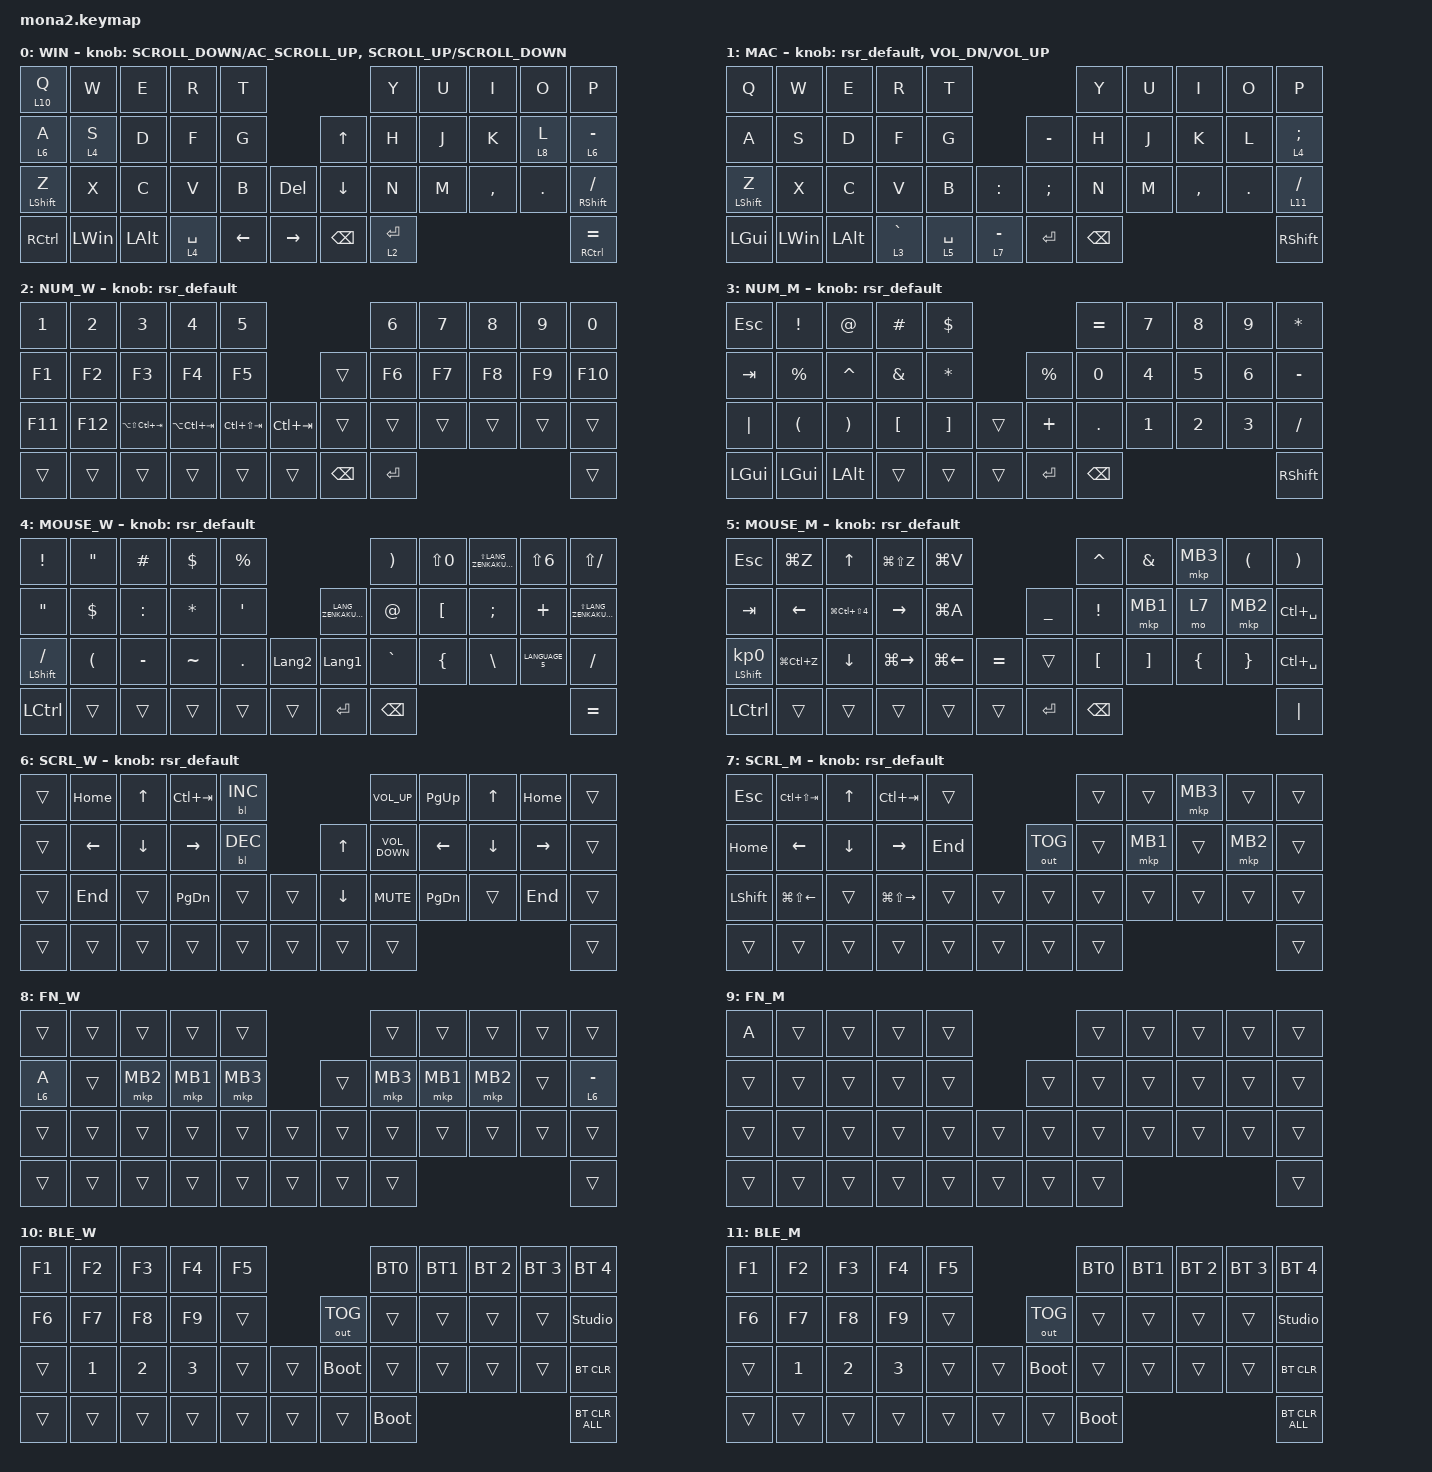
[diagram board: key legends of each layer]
#include <input/processors.dtsi>
#include <dt-bindings/zmk/input_transform.h>
#include <zephyr/dt-bindings/input/input-event-codes.h>
#include <behaviors/runtime-sensor-rotate.dtsi>

/* DYA Studio から作成したマクロを呼び出す `&rmacro <slot>` を定義する。
   slot は 0 〜 CONFIG_ZMK_RUNTIME_MACRO_COUNT-1 (現状 0〜7)。
   どのマクロがどのスロットに入っているかは DYA Studio のマクロ一覧で確認する。
   キーへの割り当ては DYA Studio のキーマップエディタからも行える。 */

#include <behaviors/runtime_macro.dtsi>

/* デフォルトレイヤー変更 behavior `&df`。
   DYA Studio の「OSごとのデフォルトレイヤー」から設定できるほか、
   キーマップエディタで `&df DF_SEL <layer>` / `&df DF_INC` を
   任意のキーに割り当てられる。 */

#include <behaviors/default_layer.dtsi>
#include <dt-bindings/zmk_behavior_default_layer/default_layer.h>
#include <behaviors.dtsi>
#include <dt-bindings/zmk/backlight.h>
#include <dt-bindings/zmk/bt.h>
#include <dt-bindings/zmk/keys.h>
#include <dt-bindings/zmk/outputs.h>
#include <dt-bindings/zmk/pointing.h>

/* ZMK 側で 10 が定義済みなので警告回避のため一旦 undef */

#undef ZMK_POINTING_DEFAULT_SCRL_VAL

#define ZMK_POINTING_DEFAULT_SCRL_VAL 100

/ {
    behaviors {
        mg_set_0: behavior_mg_set_0 {
            compatible = "zmk,behavior-mg-set-fixed";
            #binding-cells = <0>;
            display-name = "Mouse Gesture Key 0";
        };

        mg_set_1: behavior_mg_set_1 {
            compatible = "zmk,behavior-mg-set-fixed";
            #binding-cells = <0>;
            display-name = "Mouse Gesture Key 1";
        };

        mg_set_2: behavior_mg_set_2 {
            compatible = "zmk,behavior-mg-set-fixed";
            #binding-cells = <0>;
            display-name = "Mouse Gesture Key 2";
        };
    };
};

&mt {
    flavor = "balanced";
    quick-tap-ms = <0>;
};

&lt {
    quick-tap-ms = <200>;
    flavor = "balanced";
};

&msc {
    delay-ms = <0>;
    time-to-max-speed-ms = <0>;
    acceleration-exponent = <0>;
};

/ {
    /* ─────────────────────────────────────────────────────────────
       コンボ (DYA Studio から編集可能)

       旧 `combos { compatible = "zmk,combos"; }` はコンパイル時固定で
       DYA Studio から編集できないため、zmk-feature-runtime-combo の
       「コンパイル時デフォルト」ノードへ移行した。
       ここに書いた内容はフラッシュ直後から有効で、設定を消しても復活する。
       DYA Studio 側で編集するとそのスロットだけ上書きされ、
       Web UI の "Reset to Default" でここの値へ戻せる。

       スロット総数は CONFIG_ZMK_RUNTIME_COMBO_MAX_COMBOS (現状 16)。
       未使用スロット (2〜15) は DYA Studio から自由に追加できる。
       ────────────────────────────────────────────────────────── */

    runtime_combo_defaults {
        compatible = "cormoran,runtime-combo-defaults";

        layer4_ESC {
            slot = <0>;
            display-name = "Layer4 ESC";
            key-positions = <38 39>;
            bindings = <&lt 4 ESC>;
        };

        tab {
            slot = <1>;
            display-name = "Tab";
            key-positions = <11 12>;
            bindings = <&kp TAB>;
        };
    };

    /* 静的マクロ。キーマップ上で &BT0 / &screenshot などの名前で直接
       参照しているため、そのまま残している (DYA Studio 上では編集不可)。
       DYA Studio から編集したいマクロは Web UI で新規作成し、
       キーに `&rmacro <slot>` を割り当てて使う。 */

    macros {
        to_layer_0: to_layer_0 {
            compatible = "zmk,behavior-macro-one-param";
            #binding-cells = <1>;
            bindings = <&to 0 &macro_param_1to1 &kp MACRO_PLACEHOLDER>;
            label = "TO_LAYER_0";
        };

        BT0: BT0 {
            compatible = "zmk,behavior-macro";
            #binding-cells = <0>;
            bindings =
                <&tog_off 0 &tog_off 1>,
                <&macro_wait_time 200>,
                <&bt BT_SEL 0>,
                <&macro_wait_time 500>,
                <&tog_on 0>;

            label = "BT0";
        };

        BT1: BT1 {
            compatible = "zmk,behavior-macro";
            #binding-cells = <0>;
            bindings =
                <&tog_off 0 &tog_off 1>,
                <&macro_wait_time 200>,
                <&bt BT_SEL 1>,
                <&macro_wait_time 500>,
                <&tog_on 1>;

            label = "BT1";
        };

        screenshot: screenshot {
            compatible = "zmk,behavior-macro";
            #binding-cells = <0>;
            bindings =
                <&macro_press>,
                <&kp LEFT_GUI &kp RSHIFT>,
                <&macro_wait_time 20>,
                <&macro_tap>,
                <&kp S>,
                <&macro_release>,
                <&kp LEFT_GUI &kp RSHIFT>;

            label = "SCREENSHOT";
        };

        henkan: henkan {
            compatible = "zmk,behavior-macro";
            #binding-cells = <0>;
            bindings =
                <&macro_press>,
                <&kp LEFT_ALT>,
                <&macro_wait_time 20>,
                <&macro_tap>,
                <&kp GRAVE>,
                <&macro_release>,
                <&kp LEFT_ALT>;

            label = "HENKAN";
        };
    };

    behaviors {
        lt_to_layer_0: lt_to_layer_0 {
            compatible = "zmk,behavior-hold-tap";
            label = "LAYER_TAP_TO_0";
            bindings = <&mo>, <&to_layer_0>;

            #binding-cells = <2>;
            tapping-term-ms = <200>;
        };

        tp_repeat_mo1: tp_repeat_mo1 {
            compatible = "zmk,behavior-hold-tap";
            label = "TP_REPEAT_MO1";
            bindings = <&mo>, <&key_repeat>;

            #binding-cells = <2>;
            tapping-term-ms = <200>;
        };

        // エンコーダ用 runtime-configurable sensor rotate
        // デフォルトはスクロール (cw=SCRL_DOWN, ccw=SCRL_UP)
        // DYA Studio Web UI から レイヤーごとに cw/ccw の binding を
        // kp C_VOL_UP/DN や kp LEFT/RIGHT などへ動的変更可能

        rsr_default: rsr_default {
            compatible = "zmk,behavior-runtime-sensor-rotate";
            #sensor-binding-cells = <0>;
            tap-ms = <16>;
            cw-binding = <&msc SCRL_DOWN>;
            ccw-binding = <&msc SCRL_UP>;
        };

        tog_on: toggle_layer_on_only {
            compatible = "zmk,behavior-toggle-layer";
            #binding-cells = <1>;
            display-name = "Toggle Layer On";
            toggle-mode = "on";
        };

        tog_off: toggle_layer_off_only {
            compatible = "zmk,behavior-toggle-layer";
            #binding-cells = <1>;
            display-name = "Toggle Layer Off";
            toggle-mode = "off";
        };

        zfold: zfold {
            compatible = "zmk,behavior-hold-tap";
            label = "ZFOLD";
            bindings = <&kp>, <&kp>;

            #binding-cells = <2>;
            tapping-term-ms = <300>;
            flavor = "hold-preferred";
            quick-tap-ms = <150>;
            hold-while-undecided;
        };

        zfoldZ: zfoldZ {
            compatible = "zmk,behavior-tap-dance";
            label = "ZFOLDZ";
            #binding-cells = <0>;
            bindings = <&zfold LEFT_SHIFT Z>, <&kp LS(Z)>;
        };
    };

    combos {
        compatible = "zmk,combos";

        escape {
            bindings = <&kp ESCAPE>;
            key-positions = <0 1>;
        };

        tab {
            bindings = <&kp TAB>;
            key-positions = <10 11>;
        };

        sft {
            bindings = <&kp LSHFT>;
            key-positions = <21 22>;
        };

        mousel {
            bindings = <&mkp LCLK>;
            key-positions = <17 18>;
        };

        mouser {
            bindings = <&mkp RCLK>;
            key-positions = <18 19>;
        };

        equal {
            bindings = <&kp LS(MINUS)>;
            key-positions = <8 9>;
        };

        shift+tab {
            bindings = <&kp LS(TAB)>;
            key-positions = <11 12>;
        };

        exclamation {
            bindings = <&kp EXCLAMATION>;
            key-positions = <6 5>;
        };

        hatena {
            bindings = <&kp QUESTION>;
            key-positions = <32 31>;
        };

        screenshot {
            bindings = <&kp LS(LG(S))>;
            key-positions = <6 7 8>;
        };
    };

    keymap {
        compatible = "zmk,keymap";

        win_layer {
            display-name = "WIN";
            bindings = <
&lt 10 Q          &kp W         &kp E         &kp R        &kp T                                              &kp Y      &kp U  &kp I      &kp O    &kp P
&lt 6 A           &lt 4 S       &kp D         &kp F        &kp G                              &kp UP_ARROW    &kp H      &kp J  &kp K      &lt 8 L  &lt 6 MINUS
&mt LEFT_SHIFT Z  &kp X         &kp C         &kp V        &kp B           &kp DEL            &kp DOWN_ARROW  &kp N      &kp M  &kp COMMA  &kp DOT  &mt RIGHT_SHIFT SLASH
&kp RCTRL         &kp LEFT_WIN  &kp LEFT_ALT  &lt 4 SPACE  &kp LEFT_ARROW  &kp RIGHT_ARROW    &kp BACKSPACE   &lt 2 RET                             &mt RIGHT_CONTROL EQUAL
            >;

            sensor-bindings =
                <&inc_dec_kp K_SCROLL_DOWN C_AC_SCROLL_UP>,
                <&inc_dec_kp K_SCROLL_UP K_SCROLL_DOWN>;
        };

        mac_layer {
            display-name = "MAC";
            bindings = <
&kp Q             &kp W         &kp E         &kp R        &kp T                                      &kp Y          &kp U  &kp I      &kp O    &kp P
&kp A             &kp S         &kp D         &kp F        &kp G                       &kp MINUS      &kp H          &kp J  &kp K      &kp L    &lt 4 SEMICOLON
&mt LEFT_SHIFT Z  &kp X         &kp C         &kp V        &kp B        &kp COLON      &kp SEMICOLON  &kp N          &kp M  &kp COMMA  &kp DOT  &lt 11 SLASH
&kp LEFT_GUI      &kp LEFT_WIN  &kp LEFT_ALT  &lt 3 GRAVE  &lt 5 SPACE  &lt 7 MINUS    &kp ENTER      &kp BACKSPACE                             &kp RIGHT_SHIFT
            >;

            sensor-bindings = <&rsr_default>, <&inc_dec_kp C_VOL_DN C_VOL_UP>;
        };

        num_win {
            display-name = "NUM_W";
            bindings = <
&kp NUMBER_1  &kp NUMBER_2  &kp NUMBER_3         &kp NUMBER_4     &kp N5                                         &kp NUMBER_6  &kp N7  &kp NUMBER_8  &kp NUMBER_9  &kp N0
&kp F1        &kp F2        &kp F3               &kp F4           &kp F5                          &trans         &kp F6        &kp F7  &kp F8        &kp F9        &kp F10
&kp F11       &kp F12       &kp LA(LS(LC(TAB)))  &kp LA(LC(TAB))  &kp LC(LS(TAB))  &kp LC(TAB)    &trans         &trans        &trans  &trans        &trans        &trans
&trans        &trans        &trans               &trans           &trans           &trans         &kp BACKSPACE  &kp RET                                           &trans
            >;

            sensor-bindings = <&rsr_default>;
        };

        num_mac {
            display-name = "NUM_M";
            bindings = <
&kp ESCAPE    &kp EXCLAMATION       &kp AT_SIGN            &kp HASH          &kp DOLLAR                                &kp EQUAL      &kp NUMBER_7  &kp NUMBER_8  &kp NUMBER_9  &kp ASTERISK
&kp TAB       &kp PERCENT           &kp CARET              &kp AMPERSAND     &kp ASTERISK                 &kp PERCENT  &kp NUMBER_0   &kp NUMBER_4  &kp NUMBER_5  &kp NUMBER_6  &kp MINUS
&kp PIPE      &kp LEFT_PARENTHESIS  &kp RIGHT_PARENTHESIS  &kp LEFT_BRACKET  &kp RIGHT_BRACKET  &trans    &kp PLUS     &kp DOT        &kp NUMBER_1  &kp NUMBER_2  &kp NUMBER_3  &kp SLASH
&kp LEFT_GUI  &kp LEFT_GUI          &kp LEFT_ALT           &trans            &trans             &trans    &kp ENTER    &kp BACKSPACE                                            &kp RIGHT_SHIFT
            >;

            sensor-bindings = <&rsr_default>;
        };

        mouse_win {
            display-name = "MOUSE_W";
            bindings = <
&kp EXCLAMATION       &kp DOUBLE_QUOTES     &kp HASH   &kp DOLLAR    &kp PERCENT                                                  &kp RIGHT_PARENTHESIS  &kp LS(N0)        &kp LS(LANG_ZENKAKUHANKAKU)  &kp LS(NUMBER_6)  &kp LS(SLASH)
&kp DOUBLE_QUOTES     &kp DOLLAR            &kp COLON  &kp ASTERISK  &kp SINGLE_QUOTE                    &kp LANG_ZENKAKUHANKAKU  &kp AT_SIGN            &kp LEFT_BRACKET  &kp SEMICOLON                &kp PLUS          &kp LS(LANG_ZENKAKUHANKAKU)
&mt LEFT_SHIFT SLASH  &kp LEFT_PARENTHESIS  &kp MINUS  &kp TILDE     &kp PERIOD        &kp LANGUAGE_2    &kp LANGUAGE_1           &kp GRAVE              &kp LEFT_BRACE    &kp BSLH                     &kp LANGUAGE_5    &kp SLASH
&kp LCTRL             &trans                &trans     &trans        &trans            &trans            &kp ENTER                &kp BACKSPACE                                                                           &kp EQUAL
            >;

            sensor-bindings = <&rsr_default>;
        };

        mouse_mac {
            display-name = "MOUSE_M";
            bindings = <
&kp ESCAPE                  &kp LG(Z)       &kp UP_ARROW              &kp LG(LS(Z))    &kp LG(V)                                  &kp CARET         &kp AMPERSAND      &mkp MB3        &kp LEFT_PARENTHESIS  &kp RIGHT_PARENTHESIS
&kp TAB                     &kp LEFT_ARROW  &kp LG(LC(LS(NUMBER_4)))  &kp RIGHT_ARROW  &kp LG(A)                  &kp UNDERSCORE  &kp EXCLAMATION   &mkp MB1           &mo 7           &mkp MB2              &kp LC(SPACE)
&mt LEFT_SHIFT KP_NUMBER_0  &kp LG(LC(Z))   &kp DOWN_ARROW            &kp LG(RIGHT)    &kp LG(LEFT)  &kp EQUAL    &trans          &kp LEFT_BRACKET  &kp RIGHT_BRACKET  &kp LEFT_BRACE  &kp RIGHT_BRACE       &kp LC(SPACE)
&kp LCTRL                   &trans          &trans                    &trans           &trans        &trans       &kp ENTER       &kp BACKSPACE                                                              &kp PIPE
            >;

            sensor-bindings = <&rsr_default>;
        };

        scroll_win {
            display-name = "SCRL_W";
            bindings = <
&trans  &kp HOME        &kp UP_ARROW    &kp LC(TAB)      &bl BL_INC                            &kp C_VOLUME_UP    &kp PAGE_UP     &kp UP_ARROW    &kp HOME   &trans
&trans  &kp LEFT_ARROW  &kp DOWN_ARROW  &kp RIGHT_ARROW  &bl BL_DEC            &kp UP_ARROW    &kp C_VOLUME_DOWN  &kp LEFT_ARROW  &kp DOWN_ARROW  &kp RIGHT  &trans
&trans  &kp END         &trans          &kp PAGE_DOWN    &trans      &trans    &kp DOWN_ARROW  &kp K_MUTE         &kp PAGE_DOWN   &trans          &kp END    &trans
&trans  &trans          &trans          &trans           &trans      &trans    &trans          &trans                                                        &trans
            >;

            sensor-bindings = <&rsr_default>;
        };

        scroll_mac {
            display-name = "SCRL_M";
            bindings = <
&kp ESCAPE      &kp LC(LS(TAB))         &kp UP_ARROW    &kp LC(TAB)              &trans                           &trans  &trans    &mkp MB3  &trans    &trans
&kp HOME        &kp LEFT_ARROW          &kp DOWN_ARROW  &kp RIGHT_ARROW          &kp END            &out OUT_TOG  &trans  &mkp MB1  &trans    &mkp MB2  &trans
&kp LEFT_SHIFT  &kp LG(LS(LEFT_ARROW))  &trans          &kp LG(LS(RIGHT_ARROW))  &trans   &trans    &trans        &trans  &trans    &trans    &trans    &trans
&trans          &trans                  &trans          &trans                   &trans   &trans    &trans        &trans                                &trans
            >;

            sensor-bindings = <&rsr_default>;
        };

        function_win {
            display-name = "FN_W";
            bindings = <
&trans   &trans  &trans    &trans    &trans                      &trans    &trans    &trans    &trans  &trans
&lt 6 A  &trans  &mkp MB2  &mkp MB1  &mkp MB3            &trans  &mkp MB3  &mkp MB1  &mkp MB2  &trans  &lt 6 MINUS
&trans   &trans  &trans    &trans    &trans    &trans    &trans  &trans    &trans    &trans    &trans  &trans
&trans   &trans  &trans    &trans    &trans    &trans    &trans  &trans                                &trans
            >;
        };

        function_mac {
            display-name = "FN_M";
            bindings = <
&kp A   &trans  &trans  &trans  &trans                    &trans  &trans  &trans  &trans  &trans
&trans  &trans  &trans  &trans  &trans            &trans  &trans  &trans  &trans  &trans  &trans
&trans  &trans  &trans  &trans  &trans  &trans    &trans  &trans  &trans  &trans  &trans  &trans
&trans  &trans  &trans  &trans  &trans  &trans    &trans  &trans                          &trans
            >;
        };

        ble_win {
            display-name = "BLE_W";
            bindings = <
&kp F1  &kp F2        &kp F3        &kp F4        &kp F5                          &BT0         &BT1    &bt BT_SEL 2  &bt BT_SEL 3  &bt BT_SEL 4
&kp F6  &kp F7        &kp F8        &kp F9        &trans            &out OUT_TOG  &trans       &trans  &trans        &trans        &studio_unlock
&trans  &kp NUMBER_1  &kp NUMBER_2  &kp NUMBER_3  &trans  &trans    &bootloader   &trans       &trans  &trans        &trans        &bt BT_CLR
&trans  &trans        &trans        &trans        &trans  &trans    &trans        &bootloader                                      &bt BT_CLR_ALL
            >;
        };

        ble_mac {
            display-name = "BLE_M";
            bindings = <
&kp F1  &kp F2        &kp F3        &kp F4        &kp F5                          &BT0         &BT1    &bt BT_SEL 2  &bt BT_SEL 3  &bt BT_SEL 4
&kp F6  &kp F7        &kp F8        &kp F9        &trans            &out OUT_TOG  &trans       &trans  &trans        &trans        &studio_unlock
&trans  &kp NUMBER_1  &kp NUMBER_2  &kp NUMBER_3  &trans  &trans    &bootloader   &trans       &trans  &trans        &trans        &bt BT_CLR
&trans  &trans        &trans        &trans        &trans  &trans    &trans        &bootloader                                      &bt BT_CLR_ALL
            >;
        };
    };
};
